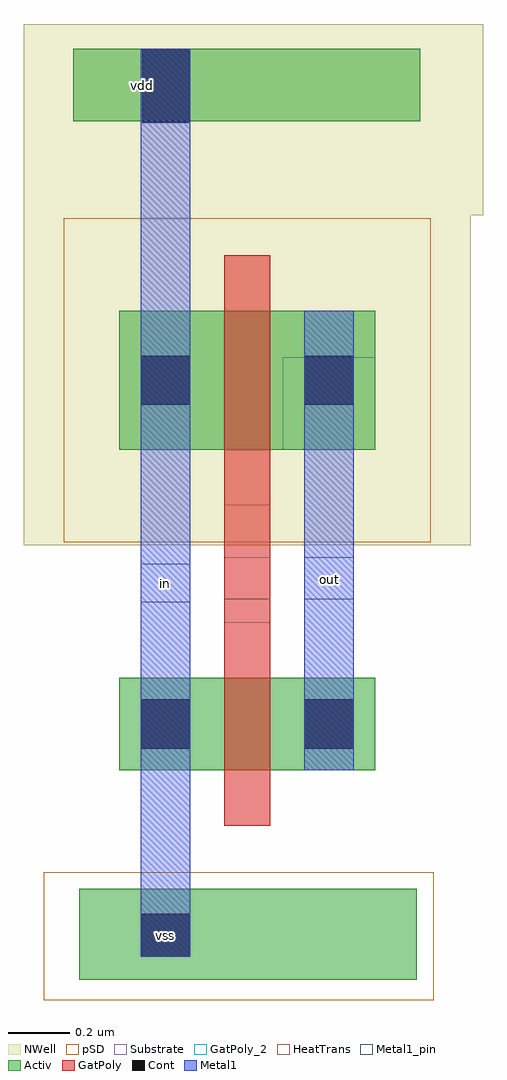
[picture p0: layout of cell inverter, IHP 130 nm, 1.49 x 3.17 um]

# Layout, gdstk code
import gdstk
lib = gdstk.Library(unit=1e-6, precision=5e-09)
def R(c, l, rs):  # rectangles x0, y0, x1, y1
    for r in rs: c.add(gdstk.rectangle(r[:2], r[2:], *l))
Activ = (1, 0)
GatPoly = (5, 0)
GatPoly_2 = (5, 2)
Cont = (6, 0)
Metal1 = (8, 0)
Metal1_pin = (8, 2)
pSD = (14, 0)
NWell = (31, 0)
Substrate = (40, 0)
HeatTrans = (51, 0)

nmos_1 = lib.new_cell('nmos$1')
R(nmos_1, Activ, [(0,0,0.3,0.3), (0,0,0.83,0.3), (0.53,0,0.83,0.3)])
R(nmos_1, GatPoly, [(0.34,-0.18,0.49,0.48)])
R(nmos_1, GatPoly_2, [(0.34,-0.18,0.49,0.48)])
R(nmos_1, Cont, [(0.07,0.07,0.23,0.23), (0.6,0.07,0.76,0.23)])
R(nmos_1, Metal1, [(0.07,0,0.23,0.3), (0.6,0,0.76,0.3)])
R(nmos_1, Metal1_pin, [(0.07,0,0.23,0.3), (0.6,0,0.76,0.3)])
R(nmos_1, HeatTrans, [(0.34,-0.18,0.49,0.48)])
nmos_1.add(gdstk.Label('nmos', (0.415,0.15), layer=63, texttype=0))
nmos_1.add(gdstk.Label('nmos', (0.415,0.15), layer=51, texttype=0))

pmos_1 = lib.new_cell('pmos$1')
R(pmos_1, Activ, [(0,0,0.3,0.3), (0,0,0.83,0.45), (0.53,0,0.83,0.3)])
R(pmos_1, GatPoly, [(0.34,-0.18,0.49,0.63), (0.34,-0.18,0.49,0.63)])
R(pmos_1, Cont, [(0.07,0.145,0.23,0.305), (0.6,0.145,0.76,0.305)])
R(pmos_1, Metal1, [(0.07,0,0.23,0.45), (0.07,0,0.23,0.45), (0.6,0,0.76,0.45), (0.6,0,0.76,0.45)])
R(pmos_1, pSD, [(-0.18,-0.3,1.01,0.75)])
R(pmos_1, NWell, [(-0.31,-0.31,1.14,0.76)])
R(pmos_1, Substrate, [(0.53,0,0.83,0.3)])
R(pmos_1, HeatTrans, [(0.34,-0.18,0.49,0.63)])
pmos_1.add(gdstk.Label('pmos', (0.415,0.225), layer=63, texttype=0))
pmos_1.add(gdstk.Label('pmos', (0.415,0.225), layer=51, texttype=0))

inverter = lib.new_cell('inverter')
R(inverter, Activ, [(-0.745,-1.005,0.35,-0.71), (-0.765,1.78,0.36,2.015)])
R(inverter, GatPoly, [(-0.275,0.155,-0.125,0.535)])
R(inverter, GatPoly_2, [(-0.275,0.23,-0.125,0.365)])
R(inverter, Cont, [(-0.545,-0.93,-0.385,-0.79), (-0.54,1.775,-0.385,2.015)])
R(inverter, Metal1, [(-0.545,-0.93,-0.385,-0.045), (-0.545,-0.025,-0.385,0.715), (-0.015,-0.025,0.145,0.715), (-0.545,1.015,-0.385,2.015)])
R(inverter, Metal1_pin, [(-0.545,0.22,-0.385,0.345), (-0.015,0.23,0.145,0.365)])
R(inverter, pSD, [(-0.86,-1.07,0.405,-0.655)])
R(inverter, NWell, [(-0.925,1.475,0.565,2.095)])
inverter.add(gdstk.Reference(nmos_1, (-0.615,-0.325)))
inverter.add(gdstk.Reference(pmos_1, (-0.615,0.715)))
inverter.add(gdstk.Label('vss', (-0.465,-0.86), layer=14, texttype=0))
inverter.add(gdstk.Label('vdd', (-0.54,1.895), layer=14, texttype=0))
inverter.add(gdstk.Label('out', (0.065,0.295), layer=8, texttype=2))
inverter.add(gdstk.Label('in', (-0.465,0.28), layer=8, texttype=2))

lib.write_gds('inverter.gds')
